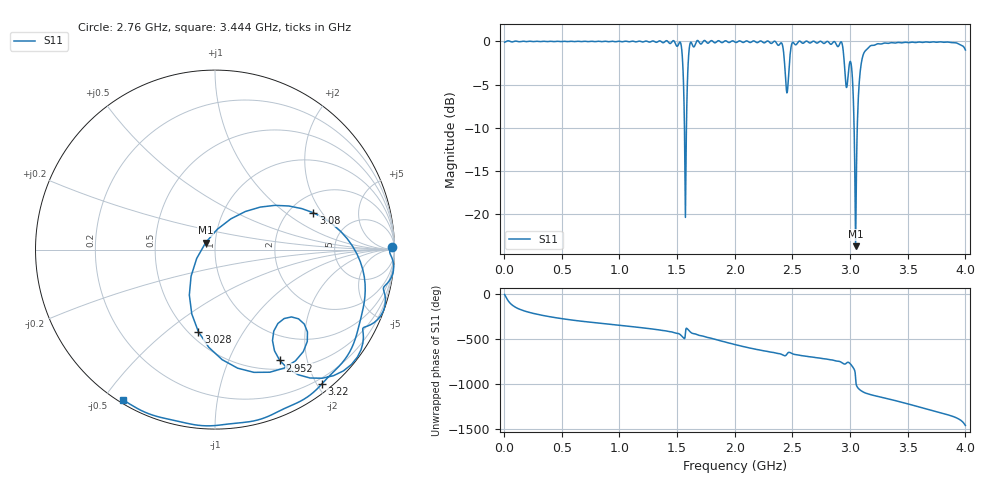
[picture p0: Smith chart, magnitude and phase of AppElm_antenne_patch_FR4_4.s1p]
! TOUCHSTONE file generated by CST MICROWAVE STUDIO
! Date and time: Tue Jun  7 21:11:32 2022
! Project name: AppElm_antenne_patch_FR4.cst
! Parameters = {L=45; W=58.5; e=0.035; h=1.6; lambda=0.190476; ls=120; w0=1.6; w1=0.533333; ws=108; y0=20; y1=23.81}
! Header version: 2018
! Port assignment regex: !\s*Touchstone port\s*([0-9]+)\s*=\s*(CST MWS port|CST DS port)\s*([0-9]+|Zmin|Zmax)\s*\(\"(.*)\"\)(\s*mode\s*([0-9]+))?.*
! Touchstone port assignment:
! Touchstone port 1 = CST MWS port 1 ("")
# GHz S MA R 50
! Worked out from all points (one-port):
!   1000 points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, 4 MHz to 4 GHz, reference 50 ohm
!   lowest |S11| = -23.7 dB at 3.048 GHz (marker M1), VSWR 1.14, Z = 44.9 + j3.54 ohm
!   |S11| at or under -10 dB: 1.564 GHz to 1.581 GHz (17.26 MHz wide, 1.1 % of centre); 3.035 GHz to 3.062 GHz (27.74 MHz wide, 0.91 % of centre)
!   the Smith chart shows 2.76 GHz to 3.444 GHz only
!   S11 on the Smith chart (normalised r, x): 2.76 GHz: 56, +68; 2.952 GHz: 0.62, -1.56; 3.028 GHz: 0.56, -0.65; 3.08 GHz: 2.67, +1.67; 3.22 GHz: 0.12, -2.06; 3.444 GHz: 0.01, -0.56
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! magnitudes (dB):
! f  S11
! 4 MHz  -0.1
! 504 MHz  0.0
! 1.004 GHz  0.0
! 1.504 GHz  -0.5
! 1.536 GHz  -0.5
! 1.56 GHz  -7.2
! 1.572 GHz  -20.4
! 1.588 GHz  -5.3
! 1.604 GHz  -1.0
! 1.624 GHz  -0.1
! 2.004 GHz  -0.1
! 2.396 GHz  -0.2
! 2.452 GHz  -6.0
! 2.504 GHz  -0.1
! 2.76 GHz  -0.1
! 2.92 GHz  -0.1
! 2.952 GHz  -2.9
! 3.004 GHz  -2.3
! 3.016 GHz  -3.4
! 3.028 GHz  -6.6
! 3.048 GHz  -23.7
! 3.064 GHz  -9.2
! 3.08 GHz  -4.7
! 3.12 GHz  -1.3
! 3.22 GHz  -0.4
! 3.444 GHz  -0.2
! 3.504 GHz  -0.1
! 4 GHz  -1.0
